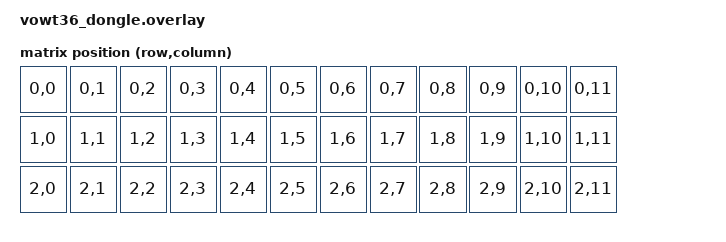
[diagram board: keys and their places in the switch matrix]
/*
 * Vowt36 Dongle overlay - Seeeduino XIAO BLE (nRF52840)
 * WeAct 1.54" ePaper display (GDEH0154D67, SSD1681 controller)
 *
 * Pin wiring:
 *   SDA  (MOSI) -> P0.08 (D9)
 *   SCL  (SCK)  -> P0.07 (D10)
 *   CS          -> P0.11 (D4)
 *   D/C         -> P0.12 (D5)
 *   Res  (RST)  -> P0.13 (D6)
 *   Busy        -> P0.14 (D7)
 */

#include <dt-bindings/zmk/matrix_transform.h>
#include <dt-bindings/pinctrl/nrf-pinctrl.h>


/ {
    chosen {
        zmk,kscan = &mock_kscan;
        zmk,matrix_transform = &default_transform;
        zephyr,display = &weact_154;
    };

    mock_kscan: mock_kscan_0 {
        compatible = "zmk,kscan-mock";
        columns = <0>;
        rows = <0>;
        events = <0>;
    };

    default_transform: keymap_transform_0 {
        compatible = "zmk,matrix-transform";
        columns = <12>;
        rows = <3>;
// | SW0.0 | SW0.1 | SW0.2 | SW0.3 | SW0.4 |       |   |       | SW0.7 | SW0.8 | SW0.9 | SW0.10 | SW0.11 |
// | SW1.0 | SW1.1 | SW1.2 | SW1.3 | SW1.4 |       |   |       | SW1.7 | SW1.8 | SW1.9 | SW1.10 | SW1.11 |
// | SW2.0 | SW2.1 | SW2.2 | SW2.3 | SW2.4 |       |   |       | SW2.7 | SW2.8 | SW2.9 | SW2.10 | SW2.11 |
//                         | SW2.5 | SW1.5 | SW0.5 |   | SW0.6 | SW1.6 | SW2.6 |
        map = <
RC(0,0) RC(0,1) RC(0,2) RC(0,3) RC(0,4) RC(0,5)  RC(0,6) RC(0,7) RC(0,8) RC(0,9) RC(0,10) RC(0,11)
RC(1,0) RC(1,1) RC(1,2) RC(1,3) RC(1,4) RC(1,5)  RC(1,6) RC(1,7) RC(1,8) RC(1,9) RC(1,10) RC(1,11)
RC(2,0) RC(2,1) RC(2,2) RC(2,3) RC(2,4) RC(2,5)  RC(2,6) RC(2,7) RC(2,8) RC(2,9) RC(2,10) RC(2,11)
        >;
    };
};

&pinctrl {
    spi0_default: spi0_default {
        group1 {
            psels = <NRF_PSEL(SPIM_SCK,  0, 7)>,   /* D10 / SCK  */
                    <NRF_PSEL(SPIM_MOSI, 0, 8)>,   /* D9 / MOSI */
                    <NRF_PSEL(SPIM_MISO, 0, 28)>;  /* unused MISO */
        };
    };
    spi0_sleep: spi0_sleep {
        group1 {
            psels = <NRF_PSEL(SPIM_SCK,  0, 7)>,
                    <NRF_PSEL(SPIM_MOSI, 0, 8)>,
                    <NRF_PSEL(SPIM_MISO, 0, 28)>;
            low-power-enable;
        };
    };
};

board_spi: &spi0 {
  status = "okay";
  compatible = "nordic,nrf-spim";
  pinctrl-0 = <&spi0_default>;
  pinctrl-1 = <&spi0_sleep>;
  pinctrl-names = "default", "sleep";
  cs-gpios =  <&gpio0 11 GPIO_ACTIVE_LOW> ;

  weact_154: ssd16xxfb@0 {
    compatible = "gooddisplay,gdeh0154a07", "solomon,ssd1681";
    spi-max-frequency = <4000000>;
    reg = <0>;
    width = <200>;
    height = <200>;
    dc-gpios = <&gpio0 12 GPIO_ACTIVE_LOW>;
    reset-gpios = <&gpio0 13 GPIO_ACTIVE_LOW>;
    busy-gpios = <&gpio0 14 GPIO_ACTIVE_HIGH>;

    tssv = <0x80>;

    full {
      border-waveform = <0x05>;
    };

    partial {
      border-waveform = <0x3c>;
    };
  };
};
